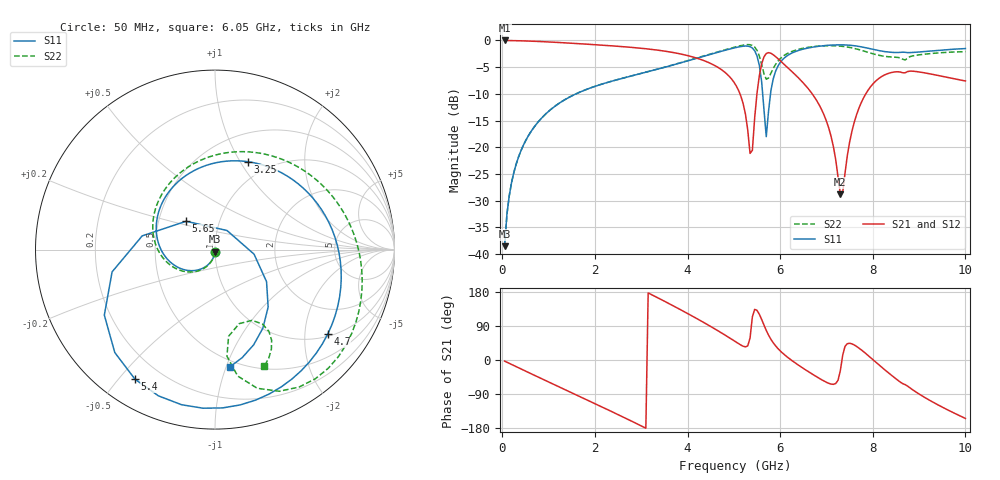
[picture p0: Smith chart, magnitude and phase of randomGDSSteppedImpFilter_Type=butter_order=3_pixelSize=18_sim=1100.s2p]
! freq	dB(S11)	phase(S11)	dB(S12)	phase(S12)
!  dB(S21)	phase(S21)	dB(S22)	phase(S22)
!S-par simulation data
#  GHz  S  DB  R 50
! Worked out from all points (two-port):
!   200 points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, 50 MHz to 10 GHz, reference 50 ohm
!   highest |S21| = -0.01 dB at 50 MHz (marker M1); lowest = -28.8 dB at 7.3 GHz (marker M2)
!   |S21| within 3 dB of the highest: start of sweep to 4.077 GHz; 5.656 GHz to 5.898 GHz (242 MHz wide, 4.19 % of centre)
!   lowest |S11| = -38.5 dB at 50 MHz (marker M3), VSWR 1.02, Z = 49.9 - j1.18 ohm
!   |S11| at or under -10 dB: start of sweep to 1.592 GHz; 5.622 GHz to 5.792 GHz (170.2 MHz wide, 2.98 % of centre)
!   |S22| runs from -38.5 to -0.8 dB; largest |S21 - S12| = 0
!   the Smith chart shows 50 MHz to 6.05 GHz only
!   S11 on the Smith chart (normalised r, x): 50 MHz: 1.00, -0.02; 3.25 GHz: 0.80, +1.08; 4.7 GHz: 1.06, -2.61; 5.4 GHz: 0.11, -0.55; 5.65 GHz: 0.69, +0.23; 6.05 GHz: 0.44, -1.03
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0.05  -38.51 -92.1  -0.01 -3.0  -0.01 -3.0  -38.51 -92.0
0.2  -26.61 -102.1  -0.03 -11.7  -0.03 -11.7  -26.61 -101.4
0.5  -18.84 -120.6  -0.10 -29.2  -0.10 -29.2  -18.83 -118.7
1.75  -9.40 164.4  -0.66 -100.9  -0.66 -100.9  -9.40 172.3
3.25  -5.63 69.3  -1.71 170.8  -1.71 170.8  -5.60 90.7
3.4  -5.28 59.2  -1.87 161.5  -1.87 161.5  -5.26 82.2
4.1  -3.58 9.7  -3.06 116.1  -3.06 116.1  -3.54 40.9
4.7  -2.10 -36.9  -5.28 74.0  -5.28 74.0  -2.03 2.3
5.05  -1.32 -69.5  -8.48 47.1  -8.48 47.1  -1.19 -23.2
5.4  -1.42 -121.7  -20.58 113.8  -20.58 113.8  -0.94 -58.6
5.55  -4.63 -167.8  -6.63 120.8  -6.63 120.8  -2.90 -79.8
5.65  -12.94 135.6  -3.08 92.2  -3.08 92.2  -6.22 -81.1
5.7  -18.01 57.9  -2.45 78.1  -2.45 78.1  -7.25 -71.9
5.8  -9.41 -31.9  -2.41 54.7  -2.41 54.7  -6.17 -57.5
6.05  -3.62 -82.9  -4.19 18.5  -4.19 18.5  -3.04 -67.0
6.7  -1.26 -146.5  -10.09 -37.7  -10.09 -37.7  -1.18 -116.3
7.1  -0.87 179.9  -17.97 -63.5  -17.97 -63.5  -0.98 -152.5
7.3  -0.83 162.9  -28.79 -28.0  -28.79 -28.0  -1.07 -173.9
7.85  -1.37 116.9  -9.98 17.0  -9.98 17.0  -2.10 110.6
8.35  -2.19 82.3  -6.13 -35.0  -6.13 -35.0  -3.07 30.5
9.15  -2.05 35.2  -6.12 -100.9  -6.12 -100.9  -2.55 -59.5
10  -1.52 -9.3  -7.59 -154.2  -7.59 -154.2  -2.11 -122.3
